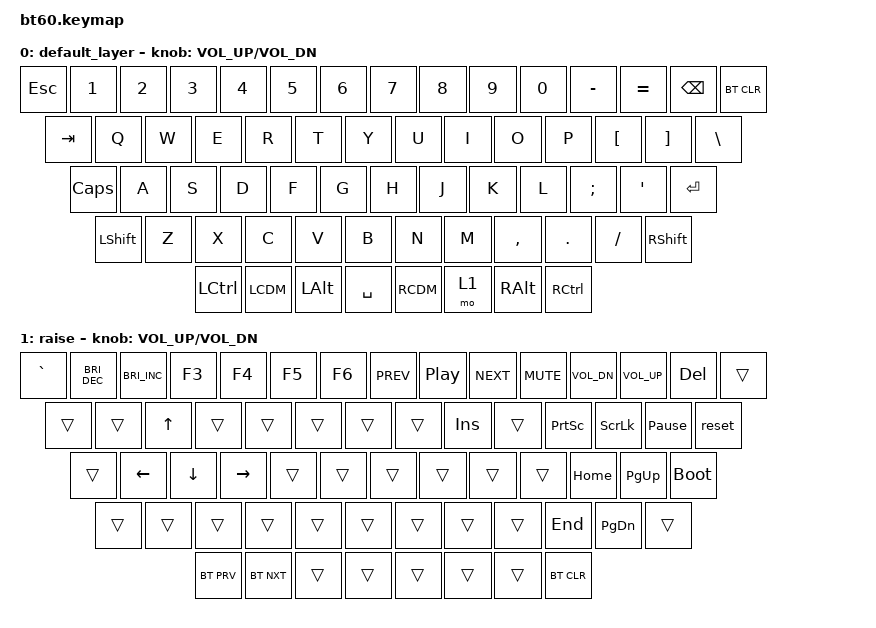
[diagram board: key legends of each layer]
#include <behaviors.dtsi>
#include <dt-bindings/zmk/keys.h>
#include <dt-bindings/zmk/bt.h>

/ {
	keymap {
		compatible = "zmk,keymap";

		default_layer {
				// ------------------------------------------------------------------------------------------
				// | ESC |  1  |  2  |  3  |  4  |  5  |  6  |  7  |  8  |  9  |  0  |  -  |  =  |   BKSP   | DEL
				// | TAB  |  Q  |  W  |  E  |  R  |  T  |  Y  |  U  |  I  |  O  |  P  |  [  |  ]  |   |    |
				// | CAPS  |  A  |  S  |  D  |  F  |  G  |  H  |  J  |  K  |  L  |  ;  |  '  |     ENTER    |
				// |  SHIFT    |  Z  |  X  |  C  |  V  |  B  |  N  |  M  |  ,  |  .  | /   |      SHIFT     |
				// |  CTL  |  CMD  |  ALT  |            SPACE               | CMD | 1    |  ALT    |  CTRL    |
				// ------------------------------------------------------------------------------------------
			bindings = <
				&kp ESC &kp N1 &kp N2 &kp N3 &kp N4 &kp N5 &kp N6 &kp N7 &kp  N8   &kp  N9 &kp  N0  &kp MINUS &kp EQUAL &kp BSPC &bt BT_CLR
				&kp TAB  &kp Q  &kp W  &kp E  &kp R  &kp T  &kp Y  &kp U  &kp  I    &kp  O  &kp  P   &kp LBKT &kp RBKT  &kp BSLH
				&kp CLCK  &kp A  &kp S  &kp D  &kp F  &kp G  &kp H  &kp J  &kp  K    &kp  L  &kp SEMI &kp SQT           &kp RET
				&kp LSHFT  &kp Z  &kp X  &kp C  &kp V  &kp B  &kp N  &kp M  &kp COMMA &kp DOT &kp FSLH             &kp RSHFT
				&kp LCTRL &kp LCDM &kp LALT            &kp SPACE                          &kp RCDM  &mo 1 &kp RALT &kp RCTRL
			>;
			sensor-bindings = <&inc_dec_kp C_VOL_UP C_VOL_DN>;
		};
		raise {
			bindings = <
				&kp GRAVE &kp C_BRIGHTNESS_DEC &kp C_BRIGHTNESS_INC &kp F3 &kp F4 &kp F5 &kp F6 &kp C_PREV &kp  C_PLAY_PAUSE   &kp  C_NEXT &kp  C_MUTE  &kp C_VOL_DN &kp C_VOL_UP   &kp DEL &trans
				&trans &trans &kp UP &trans &trans &trans &trans &trans &kp INS &trans &kp PSCRN &kp SLCK &kp PAUSE_BREAK &reset
				&trans    &kp LEFT &kp DOWN &kp RIGHT &trans &trans &trans &trans &trans &trans &kp HOME  &kp PG_UP   &bootloader
				&trans &trans &trans &trans &trans &trans &trans &trans &trans &kp END &kp PG_DN  &trans
				&bt BT_PRV &bt BT_NXT  &trans              &trans                            &trans   &trans   &trans &bt BT_CLR
			>;
			sensor-bindings = <&inc_dec_kp C_VOL_UP C_VOL_DN>;
		};
	};
};
